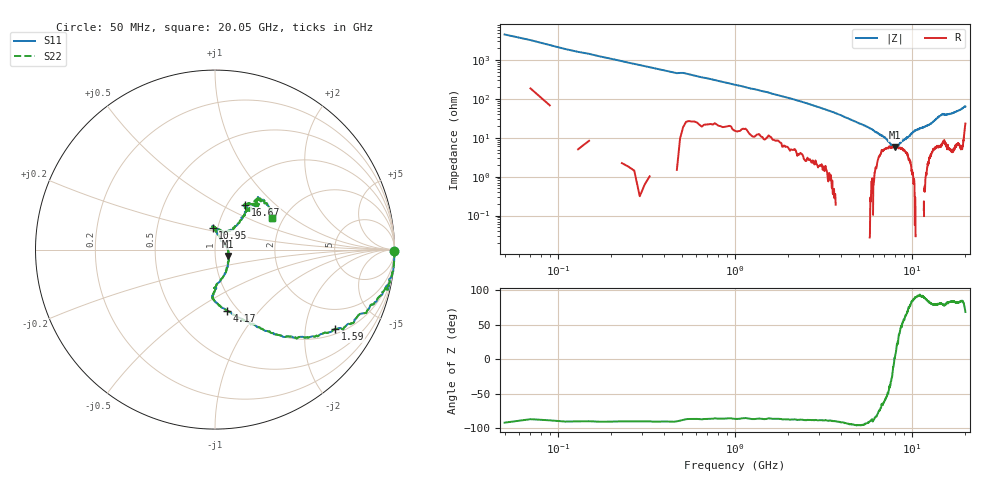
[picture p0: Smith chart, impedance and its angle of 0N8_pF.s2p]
! 500R07S0R8BV4
! Data taken April 11, 2003
! Data taken on a HP 8720C VNA using a series-through test fixture and TRL* de-embedding
#	mhz	s	ma	r	50
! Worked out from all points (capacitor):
!   1001 points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, 50 MHz to 20.05 GHz, reference 50 ohm
!   read as one part in series: C = 739 fF near 150 MHz
!   lowest |Z| = 5.64 ohm at 8.05 GHz (marker M1)
!   series resonance near 7.959 GHz, so ESL is about 540 pH
!   S11 on the Smith chart (normalised r, x): 50 MHz: open; 1.59 GHz: 1.17, -2.91; 4.17 GHz: 0.89, -0.69; 10.95 GHz: 0.95, +0.23; 16.67 GHz: 1.20, +0.66; 20.05 GHz: 1.74, +0.71
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50  1 -0.3  0.02202 91.4  0.02202 91.4  1 -0.3
230  1 -5.9  0.1073 83.9  0.1073 83.9  1 -5.9
430  0.9892 -12.0  0.1967 78.2  0.1967 78.2  0.9892 -12.0
930  0.9232 -19.4  0.37 65.7  0.37 65.7  0.9232 -19.4
1590  0.8031 -33.4  0.5736 51.7  0.5736 51.7  0.8031 -33.4
2330  0.6553 -48.4  0.7358 38.7  0.7358 38.7  0.6553 -48.4
3390  0.4536 -64.6  0.8696 25.2  0.8696 25.2  0.4536 -64.6
4170  0.3481 -78.8  0.9221 17.5  0.9221 17.5  0.3481 -78.8
5190  0.267 -93.1  0.9386 10.3  0.9386 10.3  0.267 -93.1
6730  0.1597 -73.8  0.9412 2.2  0.9412 2.2  0.1597 -73.8
8050  0.08274 -25.9  0.969 -2.7  0.969 -2.7  0.08274 -25.9
9470  0.06169 47.4  0.9674 -8.1  0.9674 -8.1  0.06169 47.4
10050  0.08634 80.7  0.9681 -10.0  0.9681 -10.0  0.08634 80.7
10430  0.1073 91.0  0.9646 -11.3  0.9646 -11.3  0.1073 91.0
10950  0.1227 95.8  0.9636 -12.3  0.9636 -12.3  0.1227 95.8
12430  0.1096 65.0  0.9635 -18.0  0.9635 -18.0  0.1096 65.0
13390  0.172 49.0  0.9494 -21.1  0.9494 -21.1  0.172 49.0
14850  0.297 50.4  0.9061 -25.0  0.9061 -25.0  0.297 50.4
16670  0.3014 56.4  0.8994 -27.6  0.8994 -27.6  0.3014 56.4
16730  0.3001 56.9  0.8968 -27.6  0.8968 -27.6  0.3001 56.9
19290  0.366 49.5  0.8196 -37.8  0.8196 -37.8  0.366 49.5
20050  0.3638 29.3  0.7208 -36.6  0.7208 -36.6  0.3638 29.3
